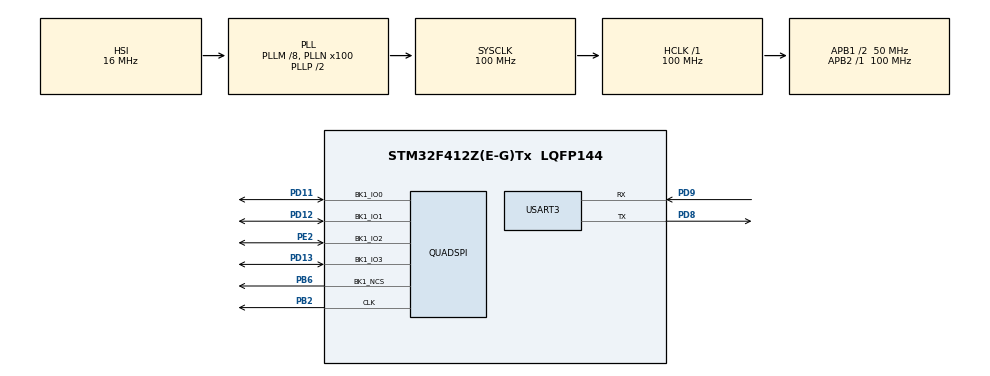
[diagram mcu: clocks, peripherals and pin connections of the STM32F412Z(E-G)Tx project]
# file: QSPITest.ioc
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Mcu.Family=STM32F4
Mcu.Name=STM32F412Z(E-G)Tx
Mcu.Package=LQFP144
NVIC.PriorityGroup=NVIC_PRIORITYGROUP_4
NVIC.QUADSPI_IRQn=true\:1\:0\:true\:false\:true\:true\:true
PA13.Mode=Serial_Wire
PA13.Signal=SYS_JTMS-SWDIO
PA14.Mode=Serial_Wire
PA14.Signal=SYS_JTCK-SWCLK
PB2.Mode=Single Bank 1
PB2.Signal=QUADSPI_CLK
PB6.GPIO_PuPd=GPIO_PULLUP
PB6.Mode=Single Bank 1
PB6.Signal=QUADSPI_BK1_NCS
PD11.Mode=Single Bank 1
PD11.Signal=QUADSPI_BK1_IO0
PD12.Mode=Single Bank 1
PD12.Signal=QUADSPI_BK1_IO1
PD13.Mode=Single Bank 1
PD13.Signal=QUADSPI_BK1_IO3
PD8.Mode=Asynchronous
PD8.Signal=USART3_TX
PD9.Mode=Asynchronous
PD9.Signal=USART3_RX
PE2.Mode=Single Bank 1
PE2.Signal=QUADSPI_BK1_IO2
ProjectManager.HeapSize=0x200
ProjectManager.StackSize=0x400
ProjectManager.TargetToolchain=STM32CubeIDE
QUADSPI.ChipSelectHighTime=QSPI_CS_HIGH_TIME_8_CYCLE
QUADSPI.ClockPrescaler=0
QUADSPI.FifoThreshold=4
QUADSPI.FlashSize=23
QUADSPI.SampleShifting=QSPI_SAMPLE_SHIFTING_HALFCYCLE
RCC.AHBFreq_Value=100000000
RCC.APB1CLKDivider=RCC_HCLK_DIV2
RCC.APB1Freq_Value=50000000
RCC.APB1TimFreq_Value=100000000
RCC.APB2Freq_Value=100000000
RCC.APB2TimFreq_Value=100000000
RCC.CortexFreq_Value=100000000
RCC.HCLKFreq_Value=100000000
RCC.PLLM=8
RCC.PLLN=100
RCC.SYSCLKFreq_VALUE=100000000
RCC.SYSCLKSource=RCC_SYSCLKSOURCE_PLLCLK
RCC.USBFreq_Value=100000000
RCC.VCOOutputFreq_Value=200000000
USART3.VirtualMode=VM_ASYNC
board=custom

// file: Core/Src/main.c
/* USER CODE BEGIN Header */
/**
  ******************************************************************************
  * @file           : main.c
  * @brief          : Main program body
  ******************************************************************************
  * @attention
  *
  * <h2><center>&copy; Copyright (c) 2020 STMicroelectronics.
  * All rights reserved.</center></h2>
  *
  * This software component is licensed by ST under BSD 3-Clause license,
  * the "License"; You may not use this file except in compliance with the
  * License. You may obtain a copy of the License at:
  *                        opensource.org/licenses/BSD-3-Clause
  *
  ******************************************************************************
  */
/* USER CODE END Header */

#include "main.h"

/* USER CODE BEGIN Includes */
#include <string.h>
#include "w25q128jv.h"
/* USER CODE END Includes */

QSPI_HandleTypeDef hqspi;

UART_HandleTypeDef huart3;

void SystemClock_Config(void);
static void MX_GPIO_Init(void);
static void MX_QUADSPI_Init(void);
static void MX_USART3_UART_Init(void);

/* USER CODE BEGIN 0 */
uint8_t Buf[256];
/* USER CODE END 0 */

int main(void)
{
  /* USER CODE BEGIN 1 */
	__IO uint8_t *qspi_addr = (__IO uint8_t *)(0x90000000);
  /* USER CODE END 1 */

  /* MCU Configuration--------------------------------------------------------*/

  /* Reset of all peripherals, Initializes the Flash interface and the Systick. */
  HAL_Init();

  /* Configure the system clock */
  SystemClock_Config();

  /* Initialize all configured peripherals */
  MX_GPIO_Init();
  MX_QUADSPI_Init();
  MX_USART3_UART_Init();
  /* USER CODE BEGIN 2 */
  W25Q128JV_Init();
  W25Q128JV_EraseBlock(0);
  W25Q128JV_AutoPollingMemReady(&hqspi);
  for (uint32_t i = 0; i < 256; i++) {
	  Buf[i] = i & 0xff;
  }
  W25Q128JV_Write(0, Buf, 256);
  W25Q128JV_AutoPollingMemReady(&hqspi);
  memset(Buf, 0, 256);
  W25Q128JV_ReadDual(0, Buf, 256);
  W25Q128JV_ReadDual(1, Buf, 16);
  W25Q128JV_ReadDual(2, Buf, 16);
  W25Q128JV_MemoryMapped();
  memcpy(Buf, qspi_addr, 16);
  memcpy(Buf, qspi_addr+16, 16);

  /* USER CODE END 2 */

  /* Infinite loop */
  while (1)
  {

  }
}

void SystemClock_Config(void)
{
  RCC_OscInitTypeDef RCC_OscInitStruct = {0};
  RCC_ClkInitTypeDef RCC_ClkInitStruct = {0};

  /** Configure the main internal regulator output voltage
  */
  __HAL_RCC_PWR_CLK_ENABLE();
  __HAL_PWR_VOLTAGESCALING_CONFIG(PWR_REGULATOR_VOLTAGE_SCALE1);
  /** Initializes the CPU, AHB and APB busses clocks
  */
  RCC_OscInitStruct.OscillatorType = RCC_OSCILLATORTYPE_HSI;
  RCC_OscInitStruct.HSIState = RCC_HSI_ON;
  RCC_OscInitStruct.HSICalibrationValue = RCC_HSICALIBRATION_DEFAULT;
  RCC_OscInitStruct.PLL.PLLState = RCC_PLL_ON;
  RCC_OscInitStruct.PLL.PLLSource = RCC_PLLSOURCE_HSI;
  RCC_OscInitStruct.PLL.PLLM = 8;
  RCC_OscInitStruct.PLL.PLLN = 100;
  RCC_OscInitStruct.PLL.PLLP = RCC_PLLP_DIV2;
  RCC_OscInitStruct.PLL.PLLQ = 2;
  RCC_OscInitStruct.PLL.PLLR = 2;
  if (HAL_RCC_OscConfig(&RCC_OscInitStruct) != HAL_OK)
  {
    Error_Handler();
  }
  /** Initializes the CPU, AHB and APB busses clocks
  */
  RCC_ClkInitStruct.ClockType = RCC_CLOCKTYPE_HCLK|RCC_CLOCKTYPE_SYSCLK
                              |RCC_CLOCKTYPE_PCLK1|RCC_CLOCKTYPE_PCLK2;
  RCC_ClkInitStruct.SYSCLKSource = RCC_SYSCLKSOURCE_PLLCLK;
  RCC_ClkInitStruct.AHBCLKDivider = RCC_SYSCLK_DIV1;
  RCC_ClkInitStruct.APB1CLKDivider = RCC_HCLK_DIV2;
  RCC_ClkInitStruct.APB2CLKDivider = RCC_HCLK_DIV1;

  if (HAL_RCC_ClockConfig(&RCC_ClkInitStruct, FLASH_LATENCY_3) != HAL_OK)
  {
    Error_Handler();
  }
}

static void MX_QUADSPI_Init(void)
{

  /* QUADSPI parameter configuration*/
  hqspi.Instance = QUADSPI;
  hqspi.Init.ClockPrescaler = 0;
  hqspi.Init.FifoThreshold = 4;
  hqspi.Init.SampleShifting = QSPI_SAMPLE_SHIFTING_HALFCYCLE;
  hqspi.Init.FlashSize = 23;
  hqspi.Init.ChipSelectHighTime = QSPI_CS_HIGH_TIME_8_CYCLE;
  hqspi.Init.ClockMode = QSPI_CLOCK_MODE_0;
  hqspi.Init.FlashID = QSPI_FLASH_ID_1;
  hqspi.Init.DualFlash = QSPI_DUALFLASH_DISABLE;
  if (HAL_QSPI_Init(&hqspi) != HAL_OK)
  {
    Error_Handler();
  }

}

static void MX_USART3_UART_Init(void)
{

  huart3.Instance = USART3;
  huart3.Init.BaudRate = 115200;
  huart3.Init.WordLength = UART_WORDLENGTH_8B;
  huart3.Init.StopBits = UART_STOPBITS_1;
  huart3.Init.Parity = UART_PARITY_NONE;
  huart3.Init.Mode = UART_MODE_TX_RX;
  huart3.Init.HwFlowCtl = UART_HWCONTROL_NONE;
  huart3.Init.OverSampling = UART_OVERSAMPLING_16;
  if (HAL_UART_Init(&huart3) != HAL_OK)
  {
    Error_Handler();
  }

}

static void MX_GPIO_Init(void)
{

  /* GPIO Ports Clock Enable */
  __HAL_RCC_GPIOE_CLK_ENABLE();
  __HAL_RCC_GPIOB_CLK_ENABLE();
  __HAL_RCC_GPIOD_CLK_ENABLE();
  __HAL_RCC_GPIOA_CLK_ENABLE();

}

void Error_Handler(void)
{
}

/************************ (C) COPYRIGHT STMicroelectronics *****END OF FILE****/
